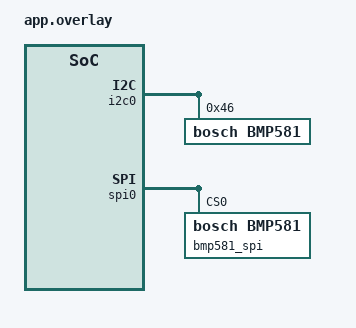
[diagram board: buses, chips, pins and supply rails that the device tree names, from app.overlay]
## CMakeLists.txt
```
# Copyright (c) 2026 Meta Platforms
# SPDX-License-Identifier: Apache-2.0

cmake_minimum_required(VERSION 3.28.0)
find_package(Zephyr REQUIRED HINTS $ENV{ZEPHYR_BASE})
project(bmp581)

target_sources(app PRIVATE src/main.c)
```

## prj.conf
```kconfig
# Copyright (c) 2026 Meta Platforms
# SPDX-License-Identifier: Apache-2.0

CONFIG_ZTEST=y

CONFIG_SENSOR=y
CONFIG_EMUL=y
CONFIG_SPI=y
CONFIG_SPI_EMUL=y

CONFIG_I2C_LOG_LEVEL_WRN=y
CONFIG_SENSOR_LOG_LEVEL_WRN=y
```

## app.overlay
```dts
/* Copyright (c) 2026 Meta Platforms
 * SPDX-License-Identifier: Apache-2.0
 */

&i2c0 {
	bmp581: bmp581@46 {
		compatible = "bosch,bmp581";
		reg = <0x46>;
	};
};

&spi0 {
	bmp581_spi: bmp581@0 {
		compatible = "bosch,bmp581";
		reg = <0>;
		spi-max-frequency = <0>;
	};
};
```

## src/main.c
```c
/*
 * Copyright (c) 2026 Meta Platforms
 * SPDX-License-Identifier: Apache-2.0
 */

#include <zephyr/devicetree.h>
#include <zephyr/drivers/emul.h>
#include <zephyr/drivers/sensor.h>
#include <zephyr/ztest.h>
#include "bmp581_emul.h"
#include "bmp581.h"

#include "bmp581_emul.h"

struct bmp581_fixture {
	const struct device *i2c_dev;
	const struct emul *i2c_target;
	const struct device *spi_dev;
	const struct emul *spi_target;
};

static void *bmp581_setup(void)
{
	static struct bmp581_fixture fixture = {
		.i2c_dev = DEVICE_DT_GET(DT_NODELABEL(bmp581)),
		.i2c_target = EMUL_DT_GET(DT_NODELABEL(bmp581)),
		.spi_dev = DEVICE_DT_GET(DT_NODELABEL(bmp581_spi)),
		.spi_target = EMUL_DT_GET(DT_NODELABEL(bmp581_spi)),
	};

	zassert_not_null(fixture.i2c_dev);
	zassert_not_null(fixture.i2c_target);
	zassert_not_null(fixture.spi_dev);
	zassert_not_null(fixture.spi_target);
	return &fixture;
}

static void bmp581_before(void *f)
{
	struct bmp581_fixture *fixture = f;

	bmp581_emul_set_temp_raw(fixture->i2c_target, 0);
	bmp581_emul_set_press_raw(fixture->i2c_target, 0);
	bmp581_emul_set_temp_raw(fixture->spi_target, 0);
	bmp581_emul_set_press_raw(fixture->spi_target, 0);
}

ZTEST_SUITE(bmp581, NULL, bmp581_setup, bmp581_before, NULL, NULL);

static void check_fetch_temp(const struct device *dev, const struct emul *target)
{
	/* raw 1638400 -> 1638400 / 65536 = 25.0 degC */
	const int32_t raw_temp = 1638400;
	struct sensor_value val;

	bmp581_emul_set_temp_raw(target, raw_temp);

	zassert_ok(sensor_sample_fetch(dev));
	zassert_ok(sensor_channel_get(dev, SENSOR_CHAN_AMBIENT_TEMP, &val));

	zassert_within(sensor_value_to_double(&val), (double)raw_temp / 65536.0, 0.01,
		       "temperature mismatch: %d.%06d", val.val1, val.val2);
}

static void check_fetch_press(const struct device *dev, const struct emul *target)
{
	/* raw 6400000 -> (6400000 >> 6) / 1000 = 100.0 kPa */
	const uint32_t raw_press = 6400000;
	struct sensor_value val;

	bmp581_emul_set_press_raw(target, raw_press);

	zassert_ok(sensor_sample_fetch(dev));
	zassert_ok(sensor_channel_get(dev, SENSOR_CHAN_PRESS, &val));

	zassert_within(sensor_value_to_double(&val), (double)(raw_press >> 6) / 1000.0, 0.01,
		       "pressure mismatch: %d.%06d", val.val1, val.val2);
}

/* The drivers must have initialised against the emulated chips (soft-reset, chip-id, NVM). */
ZTEST_F(bmp581, test_i2c_device_ready)
{
	zassert_true(device_is_ready(fixture->i2c_dev), "BMP581 (I2C) device not ready");
}

ZTEST_F(bmp581, test_i2c_fetch_temp)
{
	check_fetch_temp(fixture->i2c_dev, fixture->i2c_target);
}

ZTEST_F(bmp581, test_i2c_fetch_press)
{
	check_fetch_press(fixture->i2c_dev, fixture->i2c_target);
}

ZTEST_F(bmp581, test_i2c_attr_set_sampling_frequency)
{
	struct sensor_value odr = {.val1 = 50, .val2 = 0};

	zassert_ok(sensor_attr_set(fixture->i2c_dev, SENSOR_CHAN_ALL,
				   SENSOR_ATTR_SAMPLING_FREQUENCY, &odr));
}

ZTEST_F(bmp581, test_spi_device_ready)
{
	zassert_true(device_is_ready(fixture->spi_dev), "BMP581 (SPI) device not ready");
}

ZTEST_F(bmp581, test_spi_fetch_temp)
{
	check_fetch_temp(fixture->spi_dev, fixture->spi_target);
}

ZTEST_F(bmp581, test_spi_fetch_press)
{
	check_fetch_press(fixture->spi_dev, fixture->spi_target);
}

static uint8_t get_reg(const struct emul *target, uint8_t reg)
{
	uint8_t val = 0;

	zassert_ok(bmp581_emul_get_reg(target, reg, &val));

	return val;
}

static void check_attr_odr(const struct device *dev, const struct emul *target)
{
	const struct sensor_value odr = {.val1 = 0x0A};
	uint8_t before = get_reg(target, BMP5_REG_ODR_CONFIG);
	uint8_t reg;

	zassert_ok(sensor_attr_set(dev, SENSOR_CHAN_ALL, SENSOR_ATTR_SAMPLING_FREQUENCY, &odr));

	reg = get_reg(target, BMP5_REG_ODR_CONFIG);
	/* ODR is bits [6:2]; verify setting and check adjacent bits are preserved */
	zassert_equal(BMP5_GET_BITSLICE(reg, BMP5_ODR), 0x0A);
	zassert_equal(reg & ~BMP5_ODR_MSK, before & ~BMP5_ODR_MSK);
}

ZTEST_F(bmp581, test_i2c_attr_odr_reg)
{
	check_attr_odr(fixture->i2c_dev, fixture->i2c_target);
}

ZTEST_F(bmp581, test_spi_attr_odr_reg)
{
	check_attr_odr(fixture->spi_dev, fixture->spi_target);
}

ZTEST_F(bmp581, test_emul_get_reg_invalid)
{
	uint8_t val;

	zassert_equal(bmp581_emul_get_reg(NULL, BMP5_REG_ODR_CONFIG, &val), -EINVAL);
	zassert_equal(bmp581_emul_get_reg(fixture->i2c_target, BMP5_REG_ODR_CONFIG, NULL), -EINVAL);
	zassert_equal(bmp581_emul_get_reg(fixture->i2c_target, BMP581_EMUL_NUM_REGS, &val),
		      -EINVAL);
}
```
